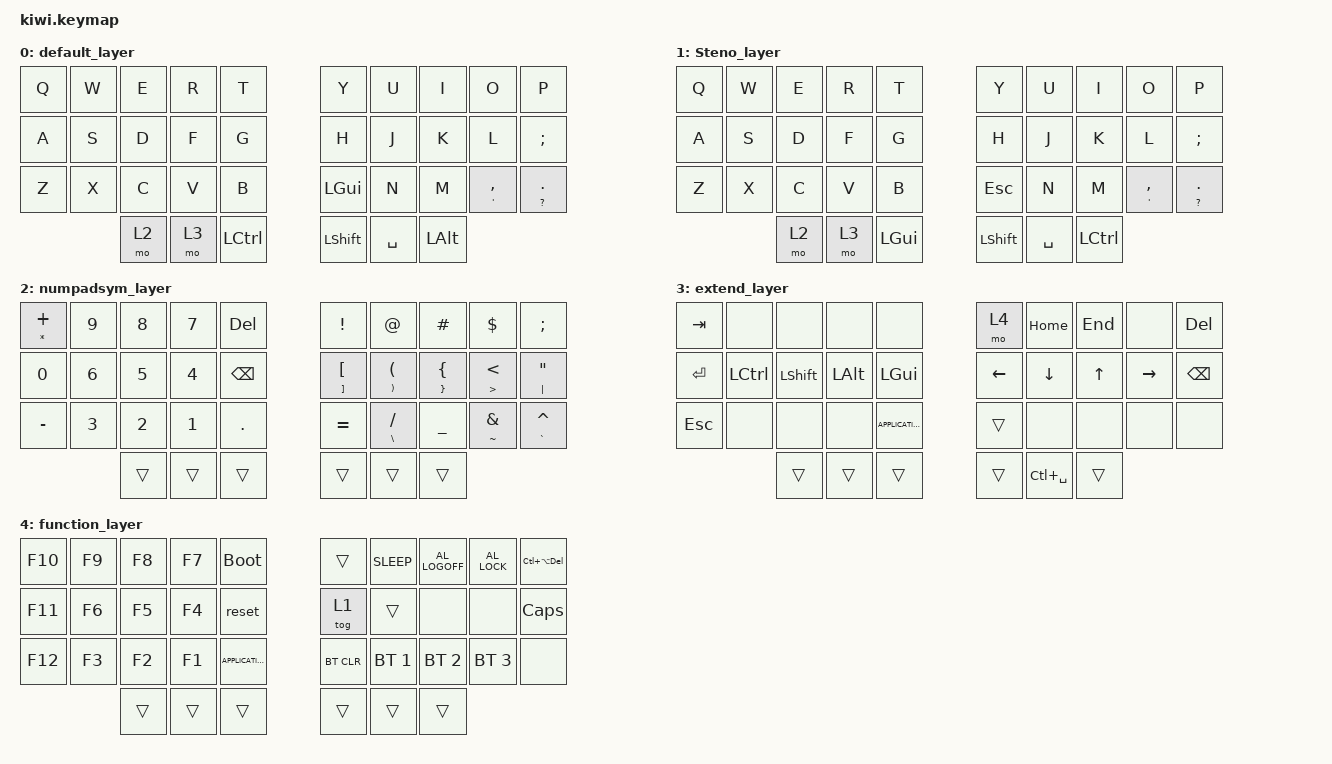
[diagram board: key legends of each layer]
/*
 * Copyright (c) 2020 The ZMK Contributors
 *
 * SPDX-License-Identifier: MIT
 */


#include <behaviors.dtsi>
#include <dt-bindings/zmk/keys.h>
#include <dt-bindings/zmk/bt.h>

#define DEFAULT     0
#define STENO       1
#define NUMPADSYM   2
#define EXTEND      3
#define FUNCTION    4


&caps_word {
    continue-list = <UNDERSCORE MINUS BACKSPACE>;
};

/ {
    combos {
        compatible = "zmk,combos";
        combo_esc {
            timeout-ms = <50>;
            key-positions = <32 33>;
	    layers = <0>;
            bindings = <&caps_word>;
        };
    };

    behaviors {
        ht: balance_tap {
            compatible = "zmk,behavior-hold-tap";
            label = "BALANCE_TAP";
            #binding-cells = <2>;
            tapping-term-ms = <200>;    // <---[[moderate duration]]
            quick-tap-ms = <0>;
            flavor = "balanced";
            bindings = <&kp>, <&kp>;
        };

        hl: balanced_tap_layer {
            compatible = "zmk,behavior-hold-tap";
            label = "BALANCE_TAP_LAYER";
            #binding-cells = <2>;
            tapping-term-ms = <200>;    // <---[[moderate duration]]
            quick-tap-ms = <0>;
            flavor = "balanced";
            bindings = <&mo>, <&kp>;
        };
        long: long_hold {
            compatible = "zmk,behavior-hold-tap";
            label = "LONG_HOLD";
            #binding-cells = <2>;
            tapping-term-ms = <5000>;
            quick-tap-ms = <0>;
            bindings = <&tog>, <&kp>;
        };

    };
        keymap {
                compatible = "zmk,keymap";
                default_layer {
//  ---------------------------------------------------------------------------------------------------------------------------------------------------------------------------------------------------------------------------------------------------------------------------
//              Q           |           W           |           F           |           P           |           G                                               J             |             L           |           U           |           Y           |           ;
//              A           |           R           |           S           |           T           |           D                                               H             |             N           |           E           |           I           |           O
//              Z           |           X           |           C           |           V           |           SPACE                                           B             |             K           |           M           |           ,/'         |           ./?
//                                                  |           NumPadSym   |           Extend      |           Shift                                           Ctrl          |             GUI         |           Alt         |

                        bindings = <
            &kp Q                   &kp W                   &kp E                   &kp R                   &kp T                                           &kp Y                       &kp U                   &kp I                   &kp O                   &kp P
            &kp A                   &kp S                   &kp D                   &kp F                   &kp G                                           &kp H                       &kp J                   &kp K                   &kp L                   &kp SEMI
            &kp Z                   &kp X                   &kp C                   &kp V                   &kp B                                           &kp LGUI                    &kp N                   &kp M                   &ht APOS COMMA          &ht QUESTION DOT
                                                            &mo 2                   &mo 3                   &kp LCTRL                                       &kp LSHIFT                  &kp SPACE               &kp LALT
                        >;
                    };

        Steno_layer {
//  ---------------------------------------------------------------------------------------------------------------------------------------------------------------------------------------------------------------------------------------------------------------------------
//              Q           |           W           |           E           |           R           |           T                                           Y             |             U           |           I           |           O           |           P
//              A           |           S           |           D           |           F           |           G                                           H             |             J           |           K           |           L           |           ;
//                          |                       |                       |                       |                                                                     |                         |                       |                       |
//                                                  |                       |           C           |           V                                           N             |             M           |                       |

                        bindings = <
            &kp Q                   &kp W                   &kp E                   &kp R                   &kp T                                           &kp Y                       &kp U                   &kp I                   &kp O                   &kp P
            &kp A                   &kp S                   &kp D                   &kp F                   &kp G                                           &kp H                       &kp J                   &kp K                   &kp L                   &kp SEMI
            &kp Z                   &kp X                   &kp C                   &kp V                   &kp B                                           &kp ESC                     &kp N                   &kp M                   &ht APOS COMMA          &ht QUESTION DOT
                                                            &mo 2                   &mo 3                   &kp LGUI                                        &kp LSHIFT                  &kp SPACE               &kp LCTRL
                       >;
                    };

                numpadsym_layer {
//  ---------------------------------------------------------------------------------------------------------------------------------------------------------------------------------------------------------------------------------------------------------------------------
//              *           |           9           |           8           |           7           |           Delete                                                !             |             @           |           #           |           $           |           %
//              0           |           6           |           5           |           4           |           BACKSPACE                                                [ ]           |             ( )         |           { }         |           < >         |           " |
//              /           |           3           |           2           |           1           |           DOT                                                =             |             \           |           _           |           & ~          |           ^ `
//                                                  |           NumPadSym   |           Space Extend|           Shift                                           Ctrl          |             GUI         |           Alt         |

                        bindings = <
            &ht STAR PLUS           &kp N9                  &kp N8                  &kp N7                  &kp DELETE                                      &kp EXCLAMATION             &kp AT                  &kp HASH                &kp DOLLAR              &kp SEMI
            &kp N0                  &kp N6                  &kp N5                  &kp N4                  &kp BACKSPACE                                   &ht RBKT LBKT               &ht RPAR LPAR           &ht RBRC LBRC           &ht GT LT               &ht PIPE DQT
            &kp MINUS    	    &kp N3                  &kp N2                  &kp N1                  &kp DOT                                         &kp EQUAL                   &ht BSLH FSLH           &kp UNDER               &ht TILDE AMPS          &ht GRAVE CARET
                                                	    &trans                  &trans                  &trans                         					                    &trans                      &trans                  &trans
                        >;
                    };

                extend_layer {
//  ---------------------------------------------------------------------------------------------------------------------------------------------------------------------------------------------------------------------------------------------------------------------------
//              Tab         |           Home        |           Up          |           End         |           Delete                                          Volume-Down   |             Volume-Up   |           Mute        |           Darken      |           Brighten
//              Enter       |           Left        |           Down        |           Right       |           Backspace                                       Pevious-M     |             Rewind      |           Play/Puase  |           Fast        |           Next
//                          |           Back        |           Esc         |           Forward     |           Menu                                            BlueC         |             Blue1       |           Blue2       |           Blue3       |           Caps_Lock
//                                                  |           NumPadSym   |           Space Extend|           Shift                                           Ctrl          |             GUI         |           Alt         |

                        bindings = <
            &kp TAB                 &none                   &none                   &none                   &none                                           &mo 4                       &kp HOME                &kp END                 &none                   &kp DELETE
            &kp ENTER               &kp LCTRL               &kp LSHIFT              &kp LALT                &kp LGUI                                        &kp LEFT                    &kp DOWN                &kp UP                  &kp RIGHT               &kp BACKSPACE 
            &kp ESC                 &none                   &none                   &none                   &kp K_APPLICATION                               &trans                       &none                   &none                   &none                   &none
                                                            &trans                  &trans                  &trans                                          &trans             		&kp LC(SPACE)           &trans
                        >;
                    };

                function_layer {
//  ---------------------------------------------------------------------------------------------------------------------------------------------------------------------------------------------------------------------------------------------------------------------------
//            &none           |                     |                       |                       |                                                                       |                   |                   |           |           Brighten
//            &none           |                     |                       |                       |                                                                       |                   |             |     |
//            &trans          |                     |                       |                       |                                                                       |                   |                   |           Blue3       |           Caps_Lock
//                                                  |           NumPadSym   |           Space       |           Shift                                           CTRL        |           GUI         |           Alt         |

                        bindings = <
          &kp F10                  &kp F9                      &kp F8                  &kp F7                &bootloader                                    &trans                      &kp C_SLEEP             &kp C_AL_LOGOFF         &kp C_AL_LOCK           &kp LC(LA(DELETE))
          &kp F11                  &kp F6                      &kp F5                  &kp F4                &reset                                         &tog 1                      &trans                  &none                   &none                   &kp CAPS
          &kp F12                  &kp F3                      &kp F2                  &kp F1                &kp K_APPLICATION                              &bt BT_CLR                  &bt BT_SEL 1            &bt BT_SEL 2            &bt BT_SEL 3            &none
                                                               &trans                  &trans                &trans                                         &trans                      &trans     			    &trans
                        >;
                    };





            };
};
